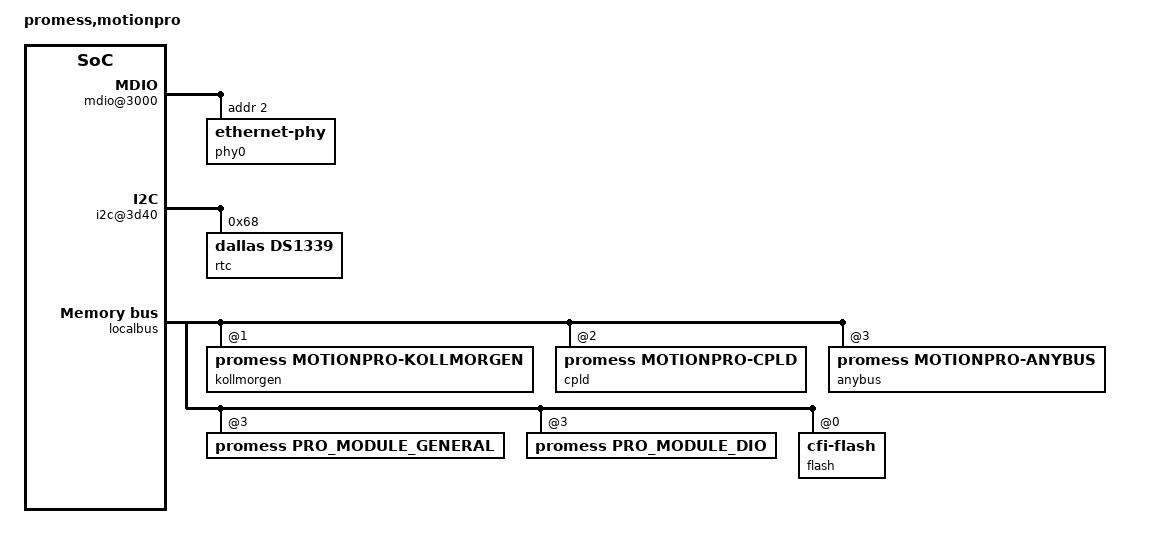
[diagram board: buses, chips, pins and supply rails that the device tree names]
/*
 * Motion-PRO board Device Tree Source
 *
 * Copyright (C) 2007 Semihalf
 * Marian Balakowicz <m8@semihalf.com>
 *
 * This program is free software; you can redistribute  it and/or modify it
 * under  the terms of  the GNU General  Public License as published by the
 * Free Software Foundation;  either version 2 of the  License, or (at your
 * option) any later version.
 */

/include/ "mpc5200b.dtsi"

&gpt0 { fsl,has-wdt; };
&gpt6 { // Motion-PRO status LED
	compatible = "promess,motionpro-led";
	label = "motionpro-statusled";
	blink-delay = <100>; // 100 msec
};
&gpt7 { // Motion-PRO ready LED
	compatible = "promess,motionpro-led";
	label = "motionpro-readyled";
};

/ {
	model = "promess,motionpro";
	compatible = "promess,motionpro";

	soc5200@f0000000 {
		can@900 {
			status = "disabled";
		};

		psc@2000 {		// PSC1
			compatible = "fsl,mpc5200b-psc-uart","fsl,mpc5200-psc-uart";
		};

		// PSC2 in spi master mode 
		psc@2200 {		// PSC2
			compatible = "fsl,mpc5200b-psc-spi","fsl,mpc5200-psc-spi";
			cell-index = <1>;
		};

		psc@2400 {		// PSC3
			status = "disabled";
		};

		psc@2600 {		// PSC4
			status = "disabled";
		};

		psc@2800 {		// PSC5
			compatible = "fsl,mpc5200b-psc-uart","fsl,mpc5200-psc-uart";
		};

		psc@2c00 {		// PSC6
			status = "disabled";
		};

		ethernet@3000 {
			phy-handle = <&phy0>;
		};

		mdio@3000 {
			phy0: ethernet-phy@2 {
				reg = <2>;
			};
		};

		i2c@3d00 {
			status = "disabled";
		};

		i2c@3d40 {
			rtc@68 {
				compatible = "dallas,ds1339";
				reg = <0x68>;
			};
		};

		sram@8000 {
			compatible = "fsl,mpc5200b-sram","fsl,mpc5200-sram";
			reg = <0x8000 0x4000>;
		};
	};

	pci@f0000d00 {
		status = "disabled";
	};

	localbus {
		ranges = <0 0 0xff000000 0x01000000
			  1 0 0x50000000 0x00010000
			  2 0 0x50010000 0x00010000
			  3 0 0x50020000 0x00010000>;

		// 8-bit DualPort SRAM on LocalPlus Bus CS1
		kollmorgen@1,0 {
			compatible = "promess,motionpro-kollmorgen";
			reg = <1 0 0x10000>;
			interrupts = <1 1 0>;
		};

		// 8-bit board CPLD on LocalPlus Bus CS2
		cpld@2,0 {
			compatible = "promess,motionpro-cpld";
			reg = <2 0 0x10000>;
		};

		// 8-bit custom Anybus Module on LocalPlus Bus CS3
		anybus@3,0 {
			compatible = "promess,motionpro-anybus";
			reg = <3 0 0x10000>;
		};
		pro_module_general@3,0 {
			compatible = "promess,pro_module_general";
			reg = <3 0 3>;
		};
		pro_module_dio@3,800 {
			compatible = "promess,pro_module_dio";
			reg = <3 0x800 2>;
		};

		// 16-bit flash device at LocalPlus Bus CS0
		flash@0,0 {
			compatible = "cfi-flash";
			reg = <0 0 0x01000000>;
			bank-width = <2>;
			device-width = <2>;
			#size-cells = <1>;
			#address-cells = <1>;
		};

	};
};
